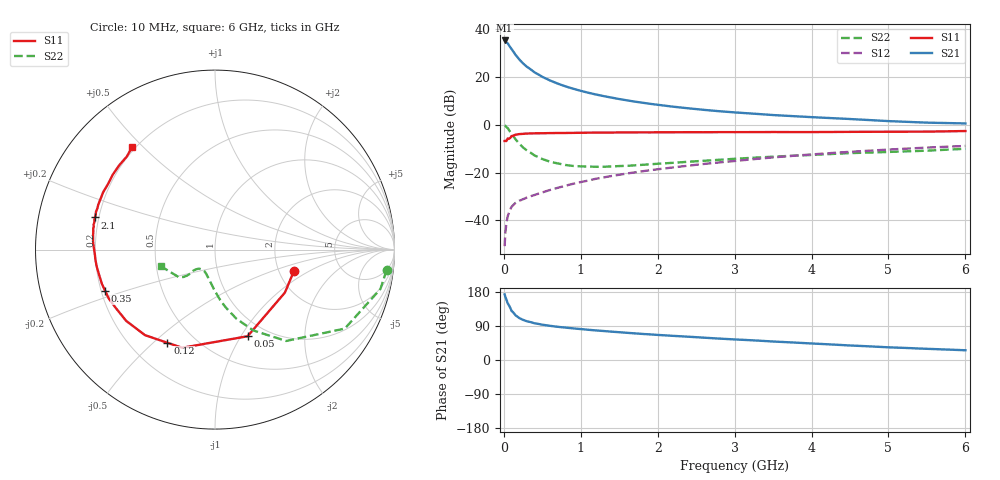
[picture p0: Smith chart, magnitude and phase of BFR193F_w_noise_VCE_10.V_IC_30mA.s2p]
! Infineon Technologies  Discrete & RF Semiconductors
! BFR193F
! VCE =  10. V,  IC =  30 mA
! Common Emitter S-Parameters:  Jan 2017
# GHz  S  MA  R  50
!  f  S11  S21  S12  S22
! GHz  MAG  ANG  MAG  ANG  MAG  ANG  MAG  ANG
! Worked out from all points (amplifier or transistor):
!   77 points, 10 MHz to 6 GHz, reference 50 ohm
!   highest |S21| = 35.1 dB at 10 MHz (marker M1)
!   |S21| within 3 dB of that: start of sweep to 87.06 MHz
!   unconditionally stable (mu >= 1): 1.237 GHz to 2.665 GHz
!   at 130 MHz: K = 0.35, MSG = 31.8 dB, |S12| = -33.4 dB
!   at 2.2 GHz: K = 1.02, MAG = 11.8 dB, |S12| = -17.9 dB
!   at 6 GHz: K = 0.84, MSG = 4.7 dB, |S12| = -8.9 dB
!   lowest NFmin = 1.18 dB at 450 MHz
!   S11 on the Smith chart (normalised r, x): 10 MHz: 2.42, -0.72; 50 MHz: 0.81, -1.07; 120 MHz: 0.35, -0.55; 350 MHz: 0.22, -0.17; 2.1 GHz: 0.18, +0.13; 6 GHz: 0.19, +0.46
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0.01  0.4558 -15.1  57.17 173.1  0.0029 84.5  0.9631 -6.8
0.02  0.4572 -31.6  55.73 166.4  0.0056 77.9  0.9474 -13.4
0.05  0.5157 -69.4  49.8 149.6  0.0122 66.6  0.8467 -31.3
0.1  0.5768 -108.5  37.91 129.7  0.0192 54.3  0.6452 -52.1
0.12  0.583 -117.1  34.19 125.9  0.0207 51.9  0.5831 -56.4
0.15  0.6159 -129.3  28.98 118.3  0.0231 48.8  0.4978 -64.7
0.2  0.6346 -141.3  23.07 110.9  0.0257 48.1  0.4029 -72.8
0.25  0.6418 -149.8  18.97 105.8  0.0277 49.0  0.3333 -78.9
0.3  0.6518 -155.4  16.12 102.2  0.03 50.3  0.2885 -83.6
0.35  0.6536 -159.3  14.2 99.9  0.032 52.0  0.2573 -86.7
0.4  0.6584 -163.1  12.3 96.8  0.034 53.5  0.227 -90.7
0.5  0.6611 -168.0  9.955 93.2  0.0384 56.9  0.1914 -96.2
0.6  0.6654 -171.6  8.355 90.2  0.0432 59.4  0.1683 -101.2
0.7  0.6684 -174.8  7.188 87.6  0.0479 61.8  0.155 -105.6
0.8  0.6693 -177.0  6.3 85.5  0.0529 63.2  0.1438 -109.8
1.1  0.6791 177.2  4.623 79.7  0.0681 67.2  0.1335 -119.3
1.5  0.6853 171.6  3.422 73.3  0.0898 70.0  0.1365 -128.2
2.1  0.6922 165.0  2.481 65.0  0.1223 71.4  0.1559 -134.4
3.1  0.6973 156.4  1.756 53.3  0.1804 71.2  0.1976 -136.3
4.1  0.7002 147.5  1.407 42.6  0.2448 68.2  0.2369 -139.9
5.1  0.7112 137.6  1.167 32.7  0.3072 63.2  0.2721 -151.1
6  0.7351 129.0  1.059 25.7  0.359 58.2  0.3131 -162.5
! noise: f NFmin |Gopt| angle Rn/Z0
0.45  1.18  0.39  176  0.06
0.9  1.27  0.42  176  0.07
1.9  1.84  0.57  -168  0.07
2.4  2.13  0.61  -159  0.11
